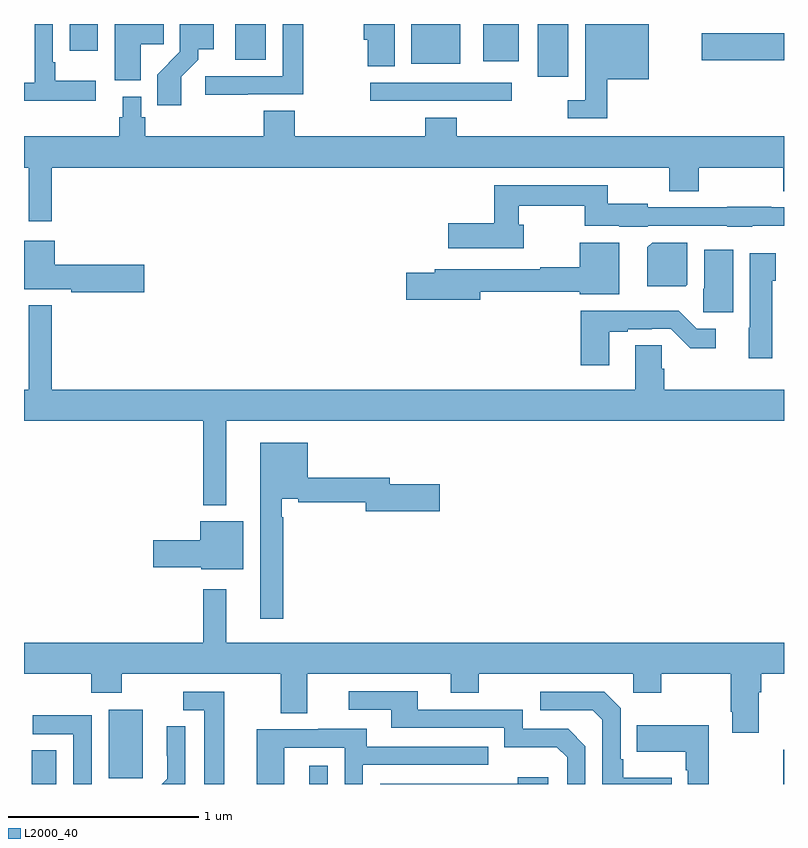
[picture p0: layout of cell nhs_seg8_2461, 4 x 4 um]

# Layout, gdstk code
import gdstk
lib = gdstk.Library(unit=1e-6, precision=1e-09)
def R(c, l, rs):  # rectangles x0, y0, x1, y1
    for r in rs: c.add(gdstk.rectangle(r[:2], r[2:], *l))
def P(c, l, *ps):  # polygons
    for p in ps: c.add(gdstk.Polygon(p, *l))
L2000_40 = (2000, 40)

nhs_seg8_2461 = lib.new_cell('nhs_seg8_2461')
R(nhs_seg8_2461, L2000_40, [(265.04,1135.9,265.171,1136.078), (266.501,1135.9,266.598,1135.996), (268.996,1135.9,269,1136.081), (265.445,1135.929,265.624,1136.29), (266.823,1139.496,267.568,1139.592), (267.704,1139.622,267.865,1139.9), (267.038,1139.69,267.295,1139.9), (267.416,1139.705,267.604,1139.9), (268.566,1139.71,269,1139.852), (266.111,1139.712,266.272,1139.9), (265.241,1139.76,265.387,1139.9)])
P(nhs_seg8_2461, L2000_40, [(266.177,1139.529),(266.47,1139.529),(266.47,1139.9),(266.361,1139.9),(266.361,1139.625),(265.953,1139.625),(265.953,1139.527),(266.177,1139.527)],
  [(265.378,1139.602),(265.165,1139.602),(265.165,1139.698),(265.152,1139.698),(265.152,1139.9),(265.056,1139.9),(265.056,1139.592),(265,1139.592),(265,1139.495),(265.378,1139.495)],
  [(265.615,1139.794),(265.736,1139.794),(265.736,1139.9),(265.478,1139.9),(265.478,1139.603),(265.615,1139.603)],
  [(268.07,1139.609),(268.288,1139.609),(268.288,1139.9),(267.954,1139.9),(267.954,1139.849),(267.953,1139.849),(267.953,1139.499),(267.861,1139.499),(267.861,1139.403),(268.07,1139.403)],
  [(266.95,1139.9),(266.788,1139.9),(266.788,1139.817),(266.809,1139.817),(266.809,1139.677),(266.95,1139.677)],
  [(265.828,1139.623),(265.918,1139.713),(265.918,1139.768),(265.999,1139.768),(265.999,1139.9),(265.821,1139.9),(265.821,1139.753),(265.702,1139.634),(265.702,1139.472),(265.828,1139.472)],
  [(265.147,1139.144),(268.396,1139.144),(268.396,1139.02),(268.551,1139.02),(268.551,1139.144),(268.996,1139.144),(268.996,1139.02),(269,1139.02),(269,1139.308),(267.278,1139.308),(267.278,1139.407),(267.113,1139.407),(267.113,1139.308),(266.426,1139.308),(266.426,1139.444),(266.261,1139.444),(266.261,1139.308),(265.637,1139.308),(265.637,1139.409),(265.617,1139.409),(265.617,1139.518),(265.52,1139.518),(265.52,1139.409),(265.501,1139.409),(265.501,1139.308),(265,1139.308),(265,1139.144),(265.025,1139.144),(265.025,1138.863),(265.147,1138.863)],
  [(267.63,1138.843),(267.604,1138.843),(267.604,1138.944),(267.951,1138.944),(267.951,1138.838),(268.134,1138.838),(268.134,1138.832),(268.284,1138.832),(268.284,1138.839),(268.701,1138.839),(268.701,1138.832),(268.833,1138.832),(268.833,1138.838),(269,1138.838),(269,1138.935),(268.933,1138.935),(268.933,1138.937),(268.701,1138.937),(268.701,1138.935),(268.284,1138.935),(268.284,1138.954),(268.072,1138.954),(268.072,1139.052),(267.475,1139.052),(267.475,1138.851),(267.234,1138.851),(267.234,1138.721),(267.63,1138.721)],
  [(265.633,1138.634),(265.162,1138.634),(265.162,1138.759),(265,1138.759),(265,1138.505),(265.248,1138.505),(265.248,1138.487),(265.633,1138.487)],
  [(268.492,1138.528),(268.492,1138.75),(268.306,1138.75),(268.28,1138.724),(268.28,1138.52),(268.484,1138.52)],
  [(267.4,1138.492),(267.926,1138.492),(267.926,1138.478),(268.132,1138.478),(268.132,1138.75),(267.926,1138.75),(267.926,1138.621),(267.718,1138.621),(267.718,1138.608),(267.161,1138.608),(267.161,1138.592),(267.012,1138.592),(267.012,1138.45),(267.4,1138.45)],
  [(268.732,1138.711),(268.58,1138.711),(268.58,1138.506),(268.576,1138.506),(268.576,1138.383),(268.732,1138.383)],
  [(268.939,1138.548),(268.957,1138.548),(268.957,1138.693),(268.82,1138.693),(268.82,1138.302),(268.814,1138.302),(268.814,1138.14),(268.939,1138.14)],
  [(266.065,1137.812),(269,1137.812),(269,1137.976),(268.37,1137.976),(268.37,1138.086),(268.356,1138.086),(268.356,1138.208),(268.217,1138.208),(268.217,1137.976),(265.147,1137.976),(265.147,1138.42),(265.025,1138.42),(265.025,1137.976),(265,1137.976),(265,1137.812),(265.944,1137.812),(265.944,1137.368),(266.065,1137.368)],
  [(268.081,1138.281),(268.177,1138.281),(268.177,1138.293),(268.304,1138.293),(268.304,1138.296),(268.404,1138.296),(268.507,1138.194),(268.642,1138.194),(268.642,1138.296),(268.542,1138.296),(268.447,1138.391),(267.929,1138.391),(267.929,1138.104),(268.081,1138.104)],
  [(266.365,1137.305),(266.357,1137.305),(266.357,1137.402),(266.443,1137.402),(266.443,1137.382),(266.798,1137.382),(266.798,1137.335),(267.187,1137.335),(267.187,1137.477),(266.926,1137.477),(266.926,1137.511),(266.494,1137.511),(266.494,1137.697),(266.243,1137.697),(266.243,1136.769),(266.365,1136.769)],
  [(266.155,1137.283),(265.928,1137.283),(265.928,1137.182),(265.68,1137.182),(265.68,1137.04),(265.932,1137.04),(265.932,1137.029),(266.155,1137.029)],
  [(268.867,1136.384),(268.88,1136.384),(268.88,1136.48),(269,1136.48),(269,1136.644),(266.065,1136.644),(266.065,1136.926),(265.944,1136.926),(265.944,1136.644),(265,1136.644),(265,1136.48),(265.355,1136.48),(265.355,1136.381),(265.515,1136.381),(265.515,1136.48),(266.351,1136.48),(266.351,1136.272),(266.491,1136.272),(266.491,1136.48),(267.245,1136.48),(267.245,1136.381),(267.393,1136.381),(267.393,1136.48),(268.206,1136.48),(268.206,1136.381),(268.353,1136.381),(268.353,1136.48),(268.72,1136.48),(268.72,1136.281),(268.727,1136.281),(268.727,1136.169),(268.867,1136.169)],
  [(267.954,1136.1),(267.864,1136.19),(267.624,1136.19),(267.624,1136.292),(267.073,1136.292),(267.073,1136.388),(266.709,1136.388),(266.709,1136.292),(266.933,1136.292),(266.933,1136.196),(267.528,1136.196),(267.528,1136.093),(267.805,1136.093),(267.858,1136.04),(267.858,1135.9),(267.954,1135.9)],
  [(268.409,1135.933),(268.153,1135.933),(268.153,1136.029),(268.14,1136.029),(268.14,1136.298),(268.053,1136.385),(267.717,1136.385),(267.717,1136.289),(267.993,1136.289),(268.044,1136.238),(268.044,1135.9),(268.409,1135.9)],
  [(266.053,1136.385),(265.839,1136.385),(265.839,1136.289),(265.949,1136.289),(265.949,1135.9),(266.053,1135.9)],
  [(265.356,1136.262),(265.047,1136.262),(265.047,1136.163),(265.26,1136.163),(265.26,1135.9),(265.356,1135.9)],
  [(268.603,1136.209),(268.225,1136.209),(268.225,1136.069),(268.482,1136.069),(268.482,1135.973),(268.494,1135.973),(268.494,1135.9),(268.603,1135.9)],
  [(265.848,1136.204),(265.752,1136.204),(265.752,1136.05),(265.754,1136.05),(265.754,1135.928),(265.726,1135.9),(265.848,1135.9)],
  [(266.37,1136.091),(266.688,1136.091),(266.688,1135.9),(266.784,1135.9),(266.784,1136.001),(267.443,1136.001),(267.443,1136.097),(266.803,1136.097),(266.803,1136.191),(266.549,1136.191),(266.549,1136.187),(266.225,1136.187),(266.225,1135.9),(266.37,1135.9)],
  [(267.76,1135.936),(267.599,1135.936),(267.599,1135.902),(266.874,1135.902),(266.874,1135.9),(267.76,1135.9)])

lib.write_gds('nhs_seg8_2461.gds')
